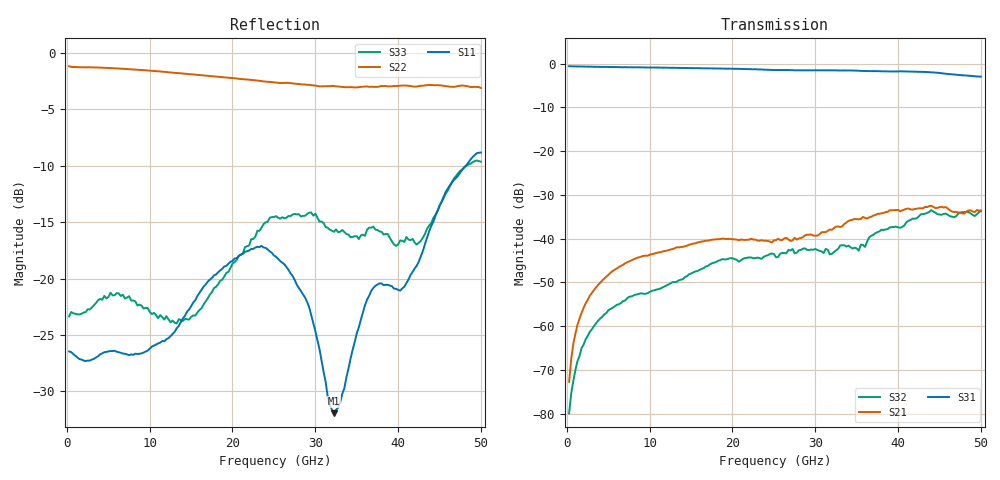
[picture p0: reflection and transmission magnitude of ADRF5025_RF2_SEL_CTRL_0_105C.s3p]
! Device:  ADRF5025
! Description: Silicon SPDT Switch, Reflective
! Frequency:  9kHz -  44.00 GHz
! Ports:
!  RFC = Port 1
!  RF1 = Port 2
!  RF2 = Port 3
! VDD  =  +3.30 Volts
! VSS  =  -3.30 Volts
! CTRL  =  +0.00 Volts
! Data:  Data was collected using an calibrated 4 port network analyzer
!  using G-S-G Probes on Probe Matrix Board.
!  The reference plane is the package pins of ADRF5025 switch.
! Notes: Analog Devices supplies this data as a sample of measured data
!  for this product.  Your particular data for this product may vary.
!  Data was taken at 105 degrees C.
!  Analog Devices reserves the right to change this data at anytime.
# GHz S  dB  R 50
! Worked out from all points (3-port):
!   200 points, 260 MHz to 50.01 GHz, reference 50 ohm
!   strongest paths, dB at 260 MHz, 12.76 GHz, 25.26 GHz, 37.76 GHz, 50.01 GHz:
!     S31: -0.6, -1.0, -1.5, -1.8, -3.0
!     S21: -72.7, -42.4, -40.3, -34.3, -33.6
!     S32: -79.9, -49.9, -44.2, -38.3, -33.6
!   lowest |S11| = -31.9 dB at 32.26 GHz (marker M1), VSWR 1.05, Z = 50.4 - j2.51 ohm
!   |S11| at or under -10 dB: start of sweep to 48.18 GHz
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0.26  -26.45 -5.2  -71.24 59.4  -0.59 -2.6
      -72.68 58.0  -1.17 177.8  -78.05 28.8
      -0.61 -2.6  -79.88 40.4  -23.35 -3.8
1.26  -26.99 -25.4  -59.88 74.7  -0.66 -11.7
      -59.74 74.5  -1.26 170.5  -67.90 66.1
      -0.67 -11.7  -68.03 68.9  -23.17 -26.9
2.76  -27.27 -56.7  -53.07 67.6  -0.71 -25.3
      -53.03 67.9  -1.27 159.8  -61.32 64.5
      -0.73 -25.2  -61.28 64.0  -22.73 -58.0
11.26  -25.67 -164.7  -43.10 11.4  -0.94 -100.7
       -43.09 11.2  -1.64 97.1  -51.41 9.6
       -0.93 -100.7  -51.41 9.4  -23.23 -157.1
18.26  -19.45 140.9  -40.09 -43.3  -1.06 -163.4
       -40.14 -43.5  -2.11 43.6  -45.08 -57.6
       -1.11 -163.4  -45.08 -57.5  -20.50 124.2
25.26  -18.06 69.5  -40.34 -113.6  -1.44 133.4
       -40.34 -113.5  -2.63 -12.0  -44.25 -167.4
       -1.48 133.8  -44.25 -167.4  -14.46 65.9
32.26  -31.94 -79.1  -37.70 -177.0  -1.61 70.4
       -37.59 -177.5  -2.92 -69.7  -43.04 116.1
       -1.55 70.5  -43.04 117.1  -15.85 41.3
40.51  -20.87 175.6  -33.55 100.4  -1.80 -7.3
       -33.53 101.2  -2.89 -141.7  -37.43 58.0
       -1.79 -7.4  -37.29 57.9  -16.64 -5.3
45.26  -13.16 -174.3  -32.72 56.0  -2.19 -55.5
       -32.71 56.1  -2.88 179.0  -34.45 5.9
       -2.23 -55.8  -34.56 6.2  -13.24 -114.1
50.01  -8.82 154.7  -33.62 25.6  -3.04 -101.5
       -33.58 24.1  -3.10 146.2  -33.69 -33.1
       -3.00 -101.5  -33.63 -32.6  -9.63 -176.7
